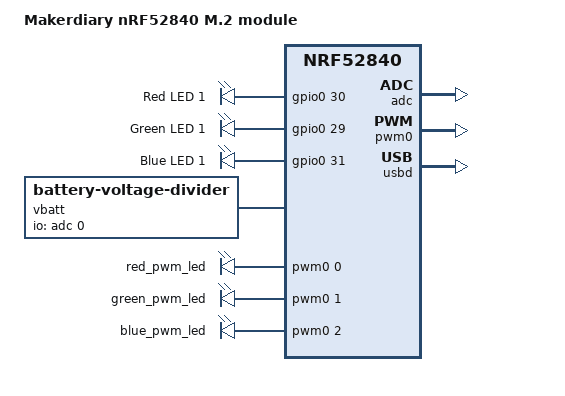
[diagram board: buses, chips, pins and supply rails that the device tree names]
/*
 * Copyright (c) 2020 The ZMK Contributors
 *
 * SPDX-License-Identifier: MIT
 */

/dts-v1/;
#include <nordic/nrf52840_qiaa.dtsi>
#include <common/nordic/nrf52840_uf2_boot_mode.dtsi>
#include "nrf52840_m2-pinctrl.dtsi"

/ {
    model = "Makerdiary nRF52840 M.2 module";
    compatible = "makerdiary,nrf52840_m2";

    chosen {
        zephyr,code-partition = &code_partition;
        zephyr,sram = &sram0;
        zephyr,flash = &flash0;
        zmk,battery = &vbatt;
    };

    leds {
        compatible = "gpio-leds";
        led1_red: led_1 {
            gpios = <&gpio0 30 GPIO_ACTIVE_HIGH>;
            label = "Red LED 1";
        };
        led1_green: led_2 {
            gpios = <&gpio0 29 GPIO_ACTIVE_HIGH>;
            label = "Green LED 1";
        };
        led1_blue: led_3 {
            gpios = <&gpio0 31 GPIO_ACTIVE_HIGH>;
            label = "Blue LED 1";
        };
    };

    vbatt: vbatt {
        compatible = "zmk,battery-voltage-divider";
        io-channels = <&adc 0>;
        output-ohms = <1000000>;
        full-ohms = <(1000000 + 1000000)>;
    };

    pwmleds: pwmleds {
        compatible = "pwm-leds";
        red_pwm_led: pwm_led_0 {
            pwms = <&pwm0 0 PWM_MSEC(20) PWM_POLARITY_NORMAL>;
        };
        green_pwm_led: pwm_led_1 {
            pwms = <&pwm0 1 PWM_MSEC(20) PWM_POLARITY_NORMAL>;
        };
        blue_pwm_led: pwm_led_2 {
            pwms = <&pwm0 2 PWM_MSEC(20) PWM_POLARITY_NORMAL>;
        };
    };
};

&adc {
    status = "okay";
};

&gpiote {
    status = "okay";
};

&gpio0 {
    status = "okay";
};

&gpio1 {
    status = "okay";
};

&pwm0 {
    status = "okay";
    pinctrl-0 = <&pwm0_default>;
    pinctrl-1 = <&pwm0_sleep>;
    pinctrl-names = "default", "sleep";
};

zephyr_udc0: &usbd {
    compatible = "nordic,nrf-usbd";
    status = "okay";
};

&flash0 {
    /*
     * For more information, see:
     * http://docs.zephyrproject.org/latest/devices/dts/flash_partitions.html
     */
    partitions {
        compatible = "fixed-partitions";
        #address-cells = <1>;
        #size-cells = <1>;

        sd_partition: partition@0 {
            reg = <0x00000000 0x00026000>;
        };
        code_partition: partition@26000 {
            reg = <0x00026000 0x000c6000>;
        };

        /*
         * The flash starting at 0x000ec000 and ending at
         * 0x000f3fff is reserved for use by the application.
         */

        /*
         * Storage partition will be used by FCB/LittleFS/NVS
         * if enabled.
         */
        storage_partition: partition@ec000 {
            reg = <0x000ec000 0x00008000>;
        };

        boot_partition: partition@f4000 {
            reg = <0x000f4000 0x0000c000>;
        };
    };
};
